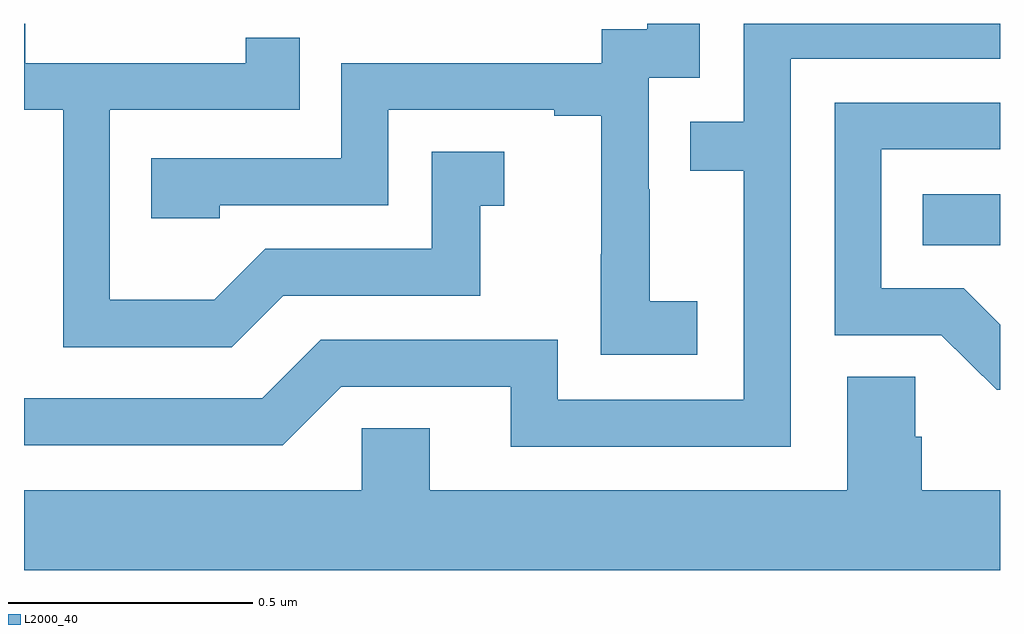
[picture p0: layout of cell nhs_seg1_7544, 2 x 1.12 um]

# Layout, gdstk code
import gdstk
lib = gdstk.Library(unit=1e-6, precision=1e-09)
def R(c, l, rs):  # rectangles x0, y0, x1, y1
    for r in rs: c.add(gdstk.rectangle(r[:2], r[2:], *l))
def P(c, l, *ps):  # polygons
    for p in ps: c.add(gdstk.Polygon(p, *l))
L2000_40 = (2000, 40)

nhs_seg1_7544 = lib.new_cell('nhs_seg1_7544')
R(nhs_seg1_7544, L2000_40, [(206.842,537.746,207,537.85)])
P(nhs_seg1_7544, L2000_40, [(206.38,537.631),(206.282,537.631),(206.282,537.86),(206.28,537.86),(206.28,538.089),(206.385,538.089),(206.385,538.199),(206.277,538.199),(206.277,538.188),(206.184,538.188),(206.184,538.119),(205.65,538.119),(205.65,537.924),(205.261,537.924),(205.261,537.801),(205.401,537.801),(205.401,537.828),(205.746,537.828),(205.746,538.023),(206.087,538.023),(206.087,538.011),(206.183,538.011),(206.183,537.727),(206.182,537.727),(206.182,537.521),(206.38,537.521)],
  [(205.531,537.642),(205.935,537.642),(205.935,537.827),(205.984,537.827),(205.984,537.937),(205.836,537.937),(205.836,537.738),(205.494,537.738),(205.39,537.634),(205.176,537.634),(205.176,538.023),(205.565,538.023),(205.565,538.171),(205.454,538.171),(205.454,538.119),(205.003,538.119),(205.003,538.199),(205,538.199),(205,538.023),(205.08,538.023),(205.08,537.537),(205.426,537.537)],
  [(206.571,538.128),(207,538.128),(207,538.199),(206.475,538.199),(206.475,537.999),(206.365,537.999),(206.365,537.898),(206.475,537.898),(206.475,537.429),(206.094,537.429),(206.094,537.552),(205.608,537.552),(205.488,537.432),(205,537.432),(205,537.336),(205.53,537.336),(205.65,537.456),(205.997,537.456),(205.997,537.333),(206.571,537.333)],
  [(207,537.583),(206.926,537.657),(206.757,537.657),(206.757,537.942),(207,537.942),(207,538.038),(206.661,538.038),(206.661,537.561),(206.88,537.561),(206.993,537.449),(207,537.449)],
  [(207,537.244),(206.84,537.244),(206.84,537.353),(206.826,537.353),(206.826,537.476),(206.687,537.476),(206.687,537.244),(205.831,537.244),(205.831,537.371),(205.692,537.371),(205.692,537.244),(205,537.244),(205,537.08),(207,537.08)])

lib.write_gds('nhs_seg1_7544.gds')
